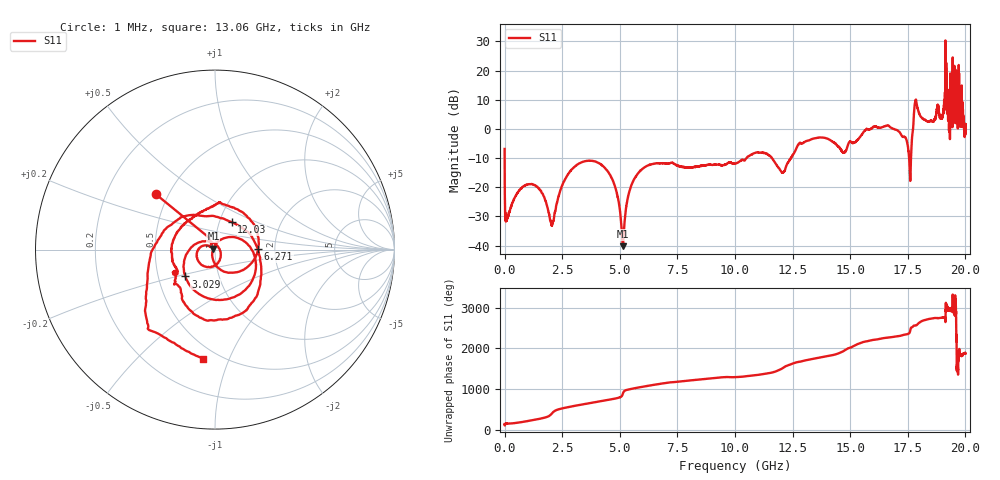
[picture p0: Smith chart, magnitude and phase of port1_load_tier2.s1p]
! Created with skrf 1.8.0 (http://scikit-rf.org).
# GHz S RI R 50.0
!freq ReS11 ImS11
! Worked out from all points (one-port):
!   10001 points, 1 MHz to 20 GHz, reference 50 ohm
!   lowest |S11| = -40.2 dB at 5.125 GHz (marker M1), VSWR 1.02, Z = 49.2 + j0.479 ohm
!   |S11| at or under -10 dB: 1.933 MHz to 10.5 GHz (10.5 GHz wide, 200 % of centre); 11.6 GHz to 12.43 GHz (822.8 MHz wide, 6.85 % of centre); 17.55869 GHz to 17.64031 GHz (81.62 MHz wide, 0.464 % of centre)
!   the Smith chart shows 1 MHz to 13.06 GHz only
!   S11 on the Smith chart (normalised r, x): 1 MHz: 0.43, +0.33; 3.029 GHz: 0.69, -0.22; 6.271 GHz: 1.63, +0.01; 12.03 GHz: 1.14, +0.36; 13.06 GHz: 0.42, -0.81
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0.001  -0.3312 0.3098
2.048898  0.0187 0.0115
2.500875  -0.1022 0.0339
3.028849  -0.165 -0.1495
5.00075  0.0125 0.04
5.124744  -0.0085 0.00487
6.270687  0.2403 0.00341
7.500625  -0.0293 0.2331
10.0005  -0.2178 -0.1301
12.0344  0.0928 0.1517
12.50038  -0.354 -0.0156
13.06435  -0.0668 -0.6073
13.9723  0.6908 -0.00267
14.53627  0.0605 0.4734
15.00025  -0.4964 -0.3502
15.70022  0.9797 0.1843
16.58817  -0.2019 1.12
17.50013  -0.5052 -0.0998
17.65212  0.4065 -0.0994
17.79411  1.979 1.588
17.9161  0.8026 2.151
18.13009  -1.369 0.6641
19.03205  -1.126 -1.493
19.15604  5.516 3.636
19.24204  0.9039 1.798
19.60402  -1.161 -2.229
19.83601  1.906 0.8318
20  0.383 1.141
